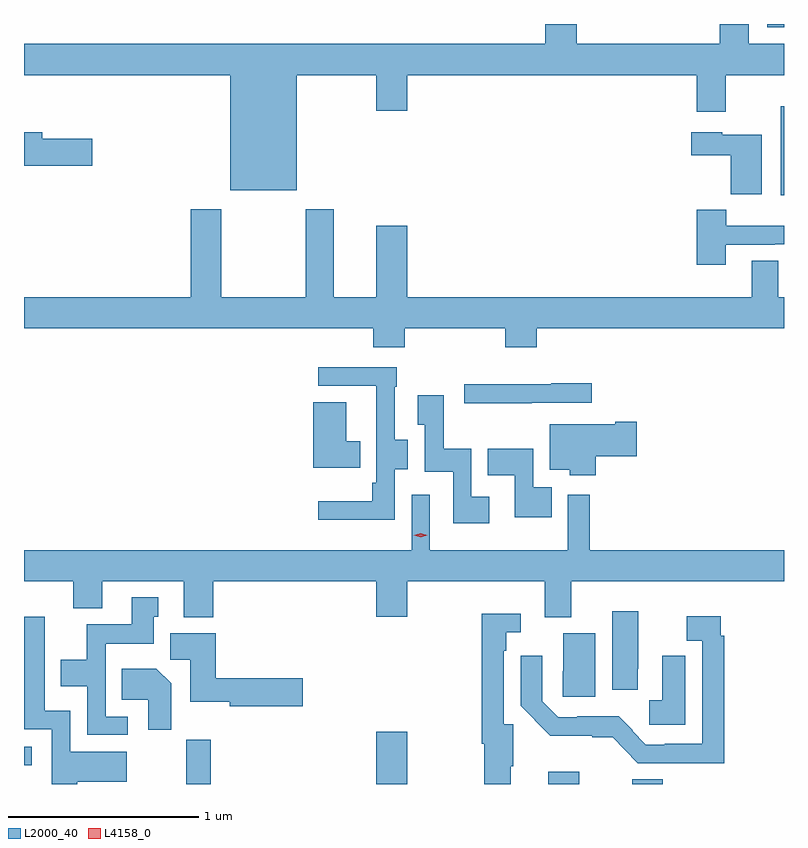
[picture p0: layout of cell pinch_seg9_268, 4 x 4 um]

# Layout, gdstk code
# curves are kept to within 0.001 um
import gdstk
lib = gdstk.Library(unit=1e-6, precision=1e-09)
def R(c, l, rs):  # rectangles x0, y0, x1, y1
    for r in rs: c.add(gdstk.rectangle(r[:2], r[2:], *l))
def P(c, l, *ps):  # polygons
    for p in ps: c.add(gdstk.Polygon(p, *l))
L2000_40 = (2000, 40)
L4158_0 = (4158, 0)

pinch_seg9_268 = lib.new_cell('pinch_seg9_268')
R(pinch_seg9_268, L2000_40, [(499.674,1199.349,499.802,1199.581), (500.672,1199.349,500.836,1199.623), (501.578,1199.349,501.742,1199.413), (502.019,1199.349,502.18,1199.374), (498.819,1199.447,498.859,1199.544), (502.802,1202.448,502.819,1202.917), (502.731,1203.333,502.819,1203.349)])
P(pinch_seg9_268, L2000_40, [(500.254,1203.08),(500.672,1203.08),(500.672,1202.892),(500.836,1202.892),(500.836,1203.08),(502.361,1203.08),(502.361,1202.886),(502.513,1202.886),(502.513,1203.08),(502.819,1203.08),(502.819,1203.244),(502.633,1203.244),(502.633,1203.349),(502.481,1203.349),(502.481,1203.244),(501.728,1203.244),(501.728,1203.349),(501.563,1203.349),(501.563,1203.244),(498.819,1203.244),(498.819,1203.08),(499.904,1203.08),(499.904,1202.474),(500.254,1202.474)],
  [(499.177,1202.745),(498.916,1202.745),(498.916,1202.779),(498.819,1202.779),(498.819,1202.603),(499.177,1202.603)],
  [(502.702,1202.767),(502.494,1202.767),(502.494,1202.779),(502.332,1202.779),(502.332,1202.657),(502.54,1202.657),(502.54,1202.453),(502.702,1202.453)],
  [(500.822,1201.748),(501.353,1201.748),(501.353,1201.649),(501.518,1201.649),(501.518,1201.748),(502.819,1201.748),(502.819,1201.912),(502.789,1201.912),(502.789,1202.102),(502.649,1202.102),(502.649,1201.912),(500.836,1201.912),(500.836,1202.287),(500.672,1202.287),(500.672,1201.912),(500.449,1201.912),(500.449,1202.374),(500.302,1202.374),(500.302,1201.912),(499.857,1201.912),(499.857,1202.374),(499.697,1202.374),(499.697,1201.912),(498.819,1201.912),(498.819,1201.748),(500.657,1201.748),(500.657,1201.649),(500.822,1201.649)],
  [(502.513,1202.187),(502.769,1202.187),(502.769,1202.19),(502.819,1202.19),(502.819,1202.287),(502.516,1202.287),(502.516,1202.371),(502.361,1202.371),(502.361,1202.082),(502.513,1202.082)],
  [(500.769,1201.006),(500.839,1201.006),(500.839,1201.161),(500.769,1201.161),(500.769,1201.439),(500.782,1201.439),(500.782,1201.542),(500.367,1201.542),(500.367,1201.446),(500.672,1201.446),(500.672,1201.249),(500.673,1201.249),(500.673,1200.934),(500.653,1200.934),(500.653,1200.838),(500.367,1200.838),(500.367,1200.74),(500.769,1200.74)],
  [(501.491,1201.356),(501.808,1201.356),(501.808,1201.457),(501.595,1201.457),(501.595,1201.454),(501.135,1201.454),(501.135,1201.354),(501.491,1201.354)],
  [(501.268,1200.862),(501.174,1200.862),(501.174,1201.114),(501.027,1201.114),(501.027,1201.396),(500.891,1201.396),(500.891,1201.24),(500.928,1201.24),(500.928,1200.992),(501.078,1200.992),(501.078,1200.722),(501.268,1200.722)],
  [(500.588,1201.153),(500.515,1201.153),(500.515,1201.357),(500.342,1201.357),(500.342,1201.013),(500.588,1201.013)],
  [(501.827,1201.073),(502.045,1201.073),(502.045,1201.256),(501.932,1201.256),(501.932,1201.243),(501.587,1201.243),(501.587,1201.004),(501.692,1201.004),(501.692,1200.974),(501.827,1200.974)],
  [(501.596,1200.91),(501.498,1200.91),(501.498,1201.114),(501.259,1201.114),(501.259,1200.974),(501.401,1200.974),(501.401,1200.752),(501.596,1200.752)],
  [(499.814,1200.416),(500.672,1200.416),(500.672,1200.228),(500.836,1200.228),(500.836,1200.416),(501.56,1200.416),(501.56,1200.227),(501.7,1200.227),(501.7,1200.416),(502.819,1200.416),(502.819,1200.58),(501.797,1200.58),(501.797,1200.871),(501.681,1200.871),(501.681,1200.58),(500.955,1200.58),(500.955,1200.871),(500.859,1200.871),(500.859,1200.58),(498.819,1200.58),(498.819,1200.416),(499.079,1200.416),(499.079,1200.275),(499.231,1200.275),(499.231,1200.416),(499.661,1200.416),(499.661,1200.227),(499.814,1200.227)],
  [(499.366,1199.703),(499.248,1199.703),(499.248,1200.086),(499.501,1200.086),(499.501,1200.228),(499.525,1200.228),(499.525,1200.331),(499.385,1200.331),(499.385,1200.19),(499.15,1200.19),(499.15,1200.004),(499.013,1200.004),(499.013,1199.864),(499.152,1199.864),(499.152,1199.607),(499.366,1199.607)],
  [(502.048,1199.956),(502.051,1199.956),(502.051,1200.259),(501.914,1200.259),(501.914,1199.844),(502.048,1199.844)],
  [(501.382,1199.443),(501.395,1199.443),(501.395,1199.664),(501.345,1199.664),(501.345,1200.05),(501.357,1200.05),(501.357,1200.147),(501.433,1200.147),(501.433,1200.244),(501.229,1200.244),(501.229,1199.561),(501.241,1199.561),(501.241,1199.349),(501.382,1199.349)],
  [(502.505,1200.128),(502.485,1200.128),(502.485,1200.232),(502.306,1200.232),(502.306,1200.104),(502.389,1200.104),(502.389,1199.56),(502.192,1199.56),(502.192,1199.556),(502.092,1199.556),(502.02,1199.628),(502.023,1199.631),(501.949,1199.705),(501.73,1199.705),(501.73,1199.7),(501.63,1199.7),(501.546,1199.784),(501.546,1200.025),(501.434,1200.025),(501.434,1199.76),(501.589,1199.603),(501.809,1199.603),(501.809,1199.595),(501.917,1199.595),(501.979,1199.533),(501.977,1199.531),(502.049,1199.459),(502.505,1199.459)],
  [(499.098,1199.36),(499.36,1199.36),(499.36,1199.518),(499.062,1199.518),(499.062,1199.734),(498.928,1199.734),(498.928,1200.229),(498.819,1200.229),(498.819,1199.637),(498.966,1199.637),(498.966,1199.349),(499.098,1199.349)],
  [(500.287,1199.906),(499.829,1199.906),(499.829,1200.142),(499.589,1200.142),(499.589,1200.004),(499.694,1200.004),(499.694,1199.783),(499.902,1199.783),(499.902,1199.759),(500.287,1199.759)],
  [(501.826,1200.142),(501.656,1200.142),(501.656,1199.943),(501.654,1199.943),(501.654,1199.808),(501.826,1199.808)],
  [(502.3,1200.023),(502.178,1200.023),(502.178,1199.791),(502.11,1199.791),(502.11,1199.662),(502.3,1199.662)],
  [(499.594,1199.878),(499.516,1199.956),(499.333,1199.956),(499.333,1199.792),(499.472,1199.792),(499.472,1199.634),(499.594,1199.634)])
P(pinch_seg9_268, L4158_0, [(500.906,1200.648),(500.871,1200.658),(500.871,1200.658),(500.871,1200.659),(500.907,1200.668),(500.942,1200.658),(500.942,1200.658),(500.942,1200.658)])

lib.write_gds('pinch_seg9_268.gds')
